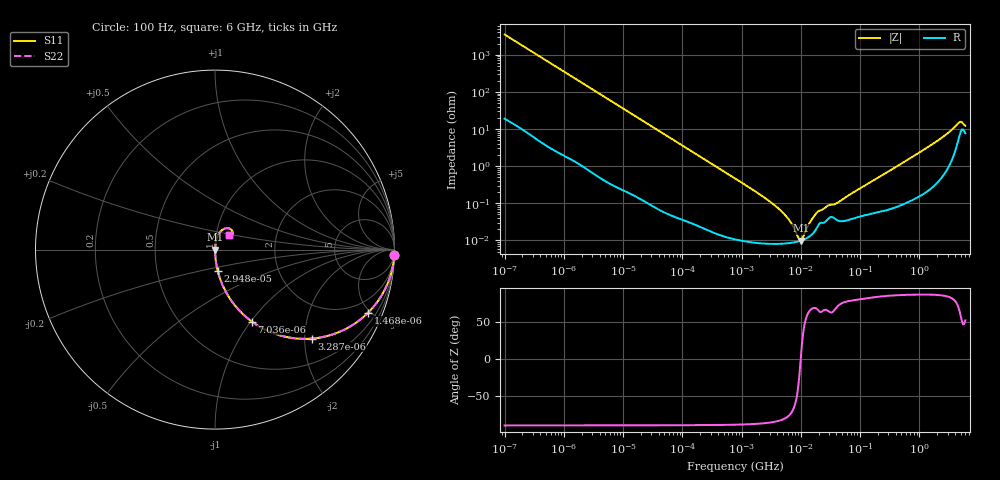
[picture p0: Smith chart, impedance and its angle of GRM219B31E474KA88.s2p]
!Murata Part Number: GRM219B31E474KA88
!These Parameters are Measured in Series Mode Connection
!Data Generated on Mar 30, 2021
!  o--ll--o
!Port1  Port2
!  o------o
!Operation Temp=25[degC], DC Bias Voltage=0[V]
!Freq. Start=100[Hz] Stop=6[GHz] 401[Steps]
# Hz S RI R 50
!Freq.(Hz) S11(Real) S11(Imag) S21(Real) S21(Imag) S12(Real) S12(Imag) S22(Real) S22(Imag)
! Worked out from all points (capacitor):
!   401 points, 100 Hz to 6 GHz, reference 50 ohm
!   read as one part in series: C = 452 nF near 109 Hz
!   lowest |Z| = 9.8 mohm at 9.942 MHz (marker M1)
!   series resonance near 9.968 MHz, so ESL is about 560 pH
!   S11 on the Smith chart (normalised r, x): 100 Hz: 1, -70; 1.468 kHz: 1.03, -4.83; 3.287 kHz: 1.01, -2.16; 7.036 kHz: 1.01, -1.01; 29.48 kHz: 1.00, -0.24; 6 GHz: 1.15, +0.19
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100  0.999 -0.0284  0.000962 0.0284  0.000962 0.0284  0.999 -0.0284
438  0.9842 -0.122  0.0158 0.122  0.0158 0.122  0.9842 -0.122
1468  0.8523 -0.352  0.1477 0.352  0.1477 0.352  0.8523 -0.352
2008  0.7563 -0.4264  0.2437 0.4264  0.2437 0.4264  0.7563 -0.4264
3287  0.5392 -0.4957  0.4608 0.4957  0.4608 0.4957  0.5392 -0.4957
7036  0.2056 -0.4013  0.7944 0.4013  0.7944 0.4013  0.2056 -0.4013
12592  0.076 -0.2616  0.924 0.2616  0.924 0.2616  0.076 -0.2616
29482  0.0154 -0.1197  0.9846 0.1197  0.9846 0.1197  0.0154 -0.1197
40335  0.00851 -0.0882  0.9915 0.0882  0.9915 0.0882  0.00851 -0.0882
774597  0.000128 -0.00468  0.9999 0.00468  0.9999 0.00468  0.000128 -0.00468
4440638  8.14e-05 -0.000663  0.9999 0.000663  0.9999 0.000663  8.14e-05 -0.000663
6353432  8.46e-05 -0.000344  0.9999 0.000344  0.9999 0.000344  8.46e-05 -0.000344
9090158  9.4e-05 -6.86e-05  0.9999 6.86e-05  0.9999 6.86e-05  9.4e-05 -6.86e-05
9941735  9.8e-05 -1.9e-06  0.9999 1.9e-06  0.9999 1.9e-06  9.8e-05 -1.9e-06
1.087309e7  0.000103 6.52e-05  0.9999 -6.52e-05  0.9999 -6.52e-05  0.000103 6.52e-05
1.555665e7  0.000147 0.000353  0.9999 -0.000353  0.9999 -0.000353  0.000147 0.000353
2.035112e7  0.000275 0.000562  0.9997 -0.000562  0.9997 -0.000562  0.000275 0.000562
4.165952e7  0.000348 0.000973  0.9997 -0.000973  0.9997 -0.000973  0.000348 0.000973
3.124326e8  0.000738 0.00738  0.9993 -0.00738  0.9993 -0.00738  0.000738 0.00738
1.95892e9  0.00553 0.046  0.9945 -0.046  0.9945 -0.046  0.00553 0.046
4.586474e9  0.0646 0.1196  0.9354 -0.1196  0.9354 -0.1196  0.0646 0.1196
6e9  0.0783 0.0821  0.9217 -0.0821  0.9217 -0.0821  0.0783 0.0821
